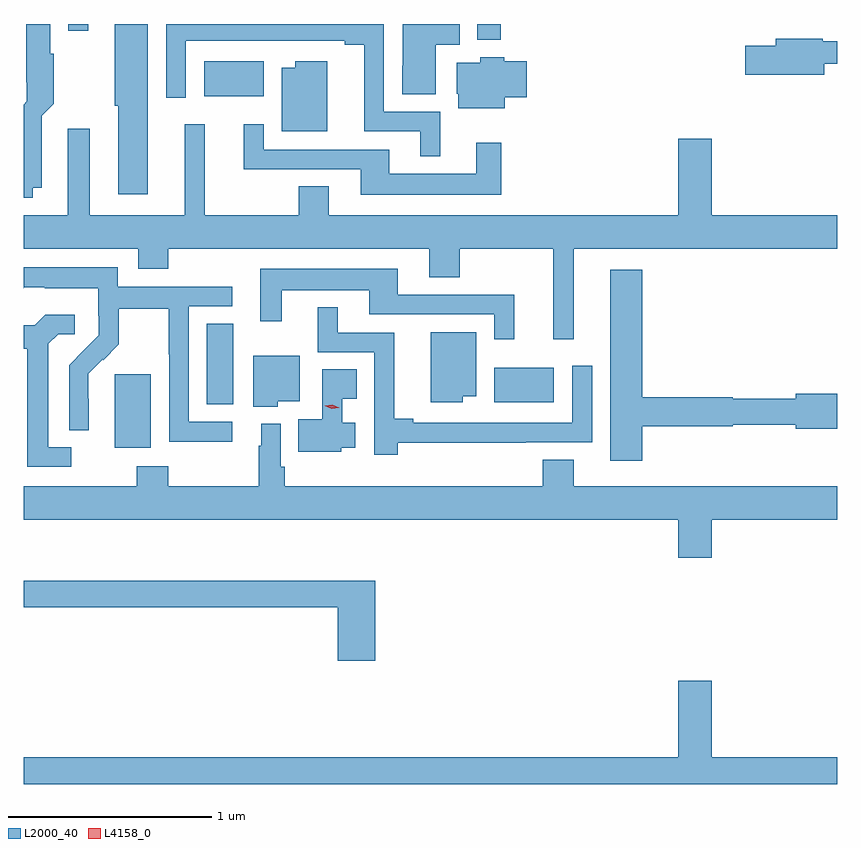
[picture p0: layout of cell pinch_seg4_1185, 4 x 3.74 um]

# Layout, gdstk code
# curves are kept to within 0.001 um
import gdstk
lib = gdstk.Library(unit=1e-6, precision=1e-09)
def R(c, l, rs):  # rectangles x0, y0, x1, y1
    for r in rs: c.add(gdstk.rectangle(r[:2], r[2:], *l))
def P(c, l, *ps):  # polygons
    for p in ps: c.add(gdstk.Polygon(p, *l))
L2000_40 = (2000, 40)
L4158_0 = (4158, 0)

pinch_seg4_1185 = lib.new_cell('pinch_seg4_1185')
R(pinch_seg4_1185, L2000_40, [(545.852,750.554,546.031,750.915), (546.305,750.766,546.436,751.163), (547.718,750.776,548.011,750.946), (546.293,752.282,546.586,752.452), (547.635,752.558,547.751,752.636), (545.625,752.604,545.722,752.636)])
P(pinch_seg4_1185, L2000_40, [(547.432,752.534),(547.55,752.534),(547.55,752.636),(547.268,752.636),(547.268,752.43),(547.265,752.43),(547.265,752.29),(547.432,752.29)],
  [(545.449,751.832),(545.494,751.832),(545.495,752.186),(545.554,752.245),(545.554,752.49),(545.536,752.49),(545.536,752.636),(545.417,752.636),(545.417,752.35),(545.421,752.35),(545.421,752.256),(545.405,752.24),(545.405,751.781),(545.449,751.781)],
  [(547.453,752.205),(547.176,752.205),(547.176,752.636),(546.105,752.636),(546.105,752.274),(546.201,752.274),(546.201,752.553),(546.983,752.553),(546.983,752.533),(547.079,752.533),(547.079,752.109),(547.355,752.109),(547.355,751.985),(547.453,751.985)],
  [(546.016,752.636),(545.852,752.636),(545.852,752.234),(545.87,752.234),(545.87,751.8),(546.016,751.8)],
  [(549.34,752.441),(549.405,752.441),(549.405,752.55),(549.332,752.55),(549.332,752.563),(549.101,752.563),(549.101,752.529),(548.952,752.529),(548.952,752.387),(549.34,752.387)],
  [(547.771,752.276),(547.879,752.276),(547.879,752.454),(547.767,752.454),(547.767,752.473),(547.65,752.473),(547.65,752.446),(547.535,752.446),(547.535,752.292),(547.541,752.292),(547.541,752.222),(547.771,752.222)],
  [(546.898,752.452),(546.74,752.452),(546.74,752.422),(546.674,752.422),(546.674,752.108),(546.898,752.108)],
  [(547.753,752.053),(547.631,752.053),(547.631,751.9),(547.201,751.9),(547.201,752.019),(546.585,752.019),(546.585,752.143),(546.488,752.143),(546.488,751.923),(547.061,751.923),(547.061,751.796),(547.753,751.796)],
  [(548.108,751.532),(549.405,751.532),(549.405,751.696),(548.788,751.696),(548.788,752.071),(548.624,752.071),(548.624,751.696),(546.904,751.696),(546.904,751.838),(546.757,751.838),(546.757,751.696),(546.296,751.696),(546.296,752.143),(546.197,752.143),(546.197,751.696),(545.731,751.696),(545.731,752.122),(545.621,752.122),(545.621,751.696),(545.405,751.696),(545.405,751.532),(545.969,751.532),(545.969,751.433),(546.117,751.433),(546.117,751.532),(547.4,751.532),(547.4,751.39),(547.548,751.39),(547.548,751.532),(548.009,751.532),(548.009,751.086),(548.108,751.086)],
  [(546.43,750.681),(546.216,750.681),(546.216,751.248),(546.43,751.248),(546.43,751.344),(545.868,751.344),(545.868,751.441),(545.405,751.441),(545.405,751.337),(545.409,751.341),(545.509,751.341),(545.509,751.337),(545.772,751.337),(545.772,751.203),(545.774,751.203),(545.774,751.106),(545.628,750.958),(545.628,750.64),(545.724,750.64),(545.723,750.917),(545.793,750.987),(545.796,750.984),(545.873,751.061),(545.873,751.236),(546.118,751.236),(546.118,751.012),(546.12,751.012),(546.12,750.583),(546.43,750.583)],
  [(547.817,751.305),(547.243,751.305),(547.243,751.432),(546.569,751.432),(546.569,751.176),(546.673,751.176),(546.673,751.328),(547.103,751.328),(547.103,751.209),(547.719,751.209),(547.719,751.086),(547.817,751.086)],
  [(548.447,750.658),(548.892,750.658),(548.892,750.666),(549.2,750.666),(549.2,750.647),(549.405,750.647),(549.405,750.818),(549.2,750.818),(549.2,750.794),(548.892,750.794),(548.892,750.8),(548.447,750.8),(548.447,751.429),(548.288,751.429),(548.288,750.489),(548.447,750.489)],
  [(547.244,750.578),(547.874,750.578),(547.874,750.579),(548.199,750.579),(548.199,750.955),(548.103,750.955),(548.103,750.675),(547.321,750.675),(547.321,750.695),(547.226,750.695),(547.226,751.119),(546.949,751.119),(546.949,751.243),(546.851,751.243),(546.851,751.023),(547.128,751.023),(547.128,750.519),(547.244,750.519)],
  [(545.638,750.555),(545.527,750.555),(545.527,751.063),(545.574,751.11),(545.656,751.11),(545.656,751.207),(545.512,751.207),(545.46,751.155),(545.405,751.155),(545.405,751.04),(545.423,751.04),(545.423,750.459),(545.638,750.459)],
  [(547.564,750.806),(547.63,750.806),(547.63,751.12),(547.406,751.12),(547.406,750.776),(547.564,750.776)],
  [(546.654,750.782),(546.763,750.782),(546.763,751.006),(546.533,751.006),(546.533,750.755),(546.654,750.755)],
  [(546.966,750.554),(547.036,750.554),(547.036,750.676),(546.97,750.676),(546.97,750.794),(547.043,750.794),(547.043,750.938),(546.873,750.938),(546.873,750.694),(546.754,750.694),(546.754,750.533),(546.966,750.533)],
  [(548.788,750.2),(549.405,750.2),(549.405,750.364),(548.11,750.364),(548.11,750.494),(547.958,750.494),(547.958,750.364),(546.689,750.364),(546.689,750.46),(546.669,750.46),(546.669,750.67),(546.572,750.67),(546.572,750.563),(546.561,750.563),(546.561,750.364),(546.117,750.364),(546.117,750.463),(545.962,750.463),(545.962,750.364),(545.405,750.364),(545.405,750.2),(548.624,750.2),(548.624,750.012),(548.788,750.012)],
  [(547.133,749.899),(545.405,749.899),(545.405,749.77),(546.95,749.77),(546.95,749.505),(547.133,749.505)],
  [(545.405,748.9),(549.405,748.9),(549.405,749.032),(548.788,749.032),(548.788,749.407),(548.624,749.407),(548.624,749.032),(545.405,749.032)])
P(pinch_seg4_1185, L4158_0, [(546.92,750.744),(546.886,750.759),(546.886,750.759),(546.886,750.759),(546.923,750.764),(546.956,750.749),(546.956,750.749),(546.956,750.749)])

lib.write_gds('pinch_seg4_1185.gds')
